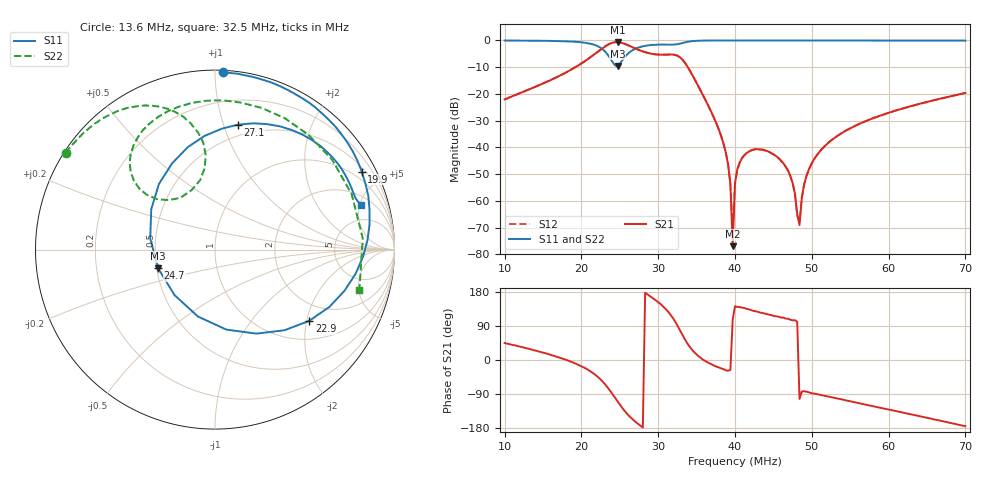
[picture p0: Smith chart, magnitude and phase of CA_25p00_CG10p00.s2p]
#  HZ  S  RI  R  50.00
! Rohde & Schwarz ZVT8 8Ports - Version 4.11 - 1300.0000k08 SN: 100242
! Date: 2026-07-31 14:34:52
! Measurements: S11 S21 S12 S22
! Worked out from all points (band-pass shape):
!   201 points, 10 MHz to 70 MHz, reference 50 ohm
!   highest |S21| = -0.62 dB at 24.7 MHz (marker M1); lowest = -77.0 dB at 39.7 MHz (marker M2)
!   |S21| within 3 dB of the highest: 22.41 MHz to 27.53 MHz (5.115 MHz wide, 20.5 % of centre)
!   lowest |S11| = -9.5 dB at 24.7 MHz (marker M3), VSWR 2.00, Z = 25.5 - j5.96 ohm
!   |S11| at or under -10 dB: nowhere
!   |S22| runs from -9.2 to 0.0 dB; largest |S21 - S12| = 0.0026
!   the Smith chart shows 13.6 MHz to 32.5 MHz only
!   S11 on the Smith chart (normalised r, x): 13.6 MHz: 0.01, +1.05; 19.9 MHz: 0.64, +3.91; 22.9 MHz: 1.48, -2.07; 24.7 MHz: 0.51, -0.12; 27.1 MHz: 0.40, +1.12; 32.5 MHz: 2.81, +5.13
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1e7  -0.3959 0.914  0.0558 0.0556  0.0555 0.0556  -0.9164 0.3906
1.36e7  0.0465 0.9879  0.1145 0.0587  0.1146 0.058  -0.8311 0.5367
1.99e7  0.8175 0.4351  0.35 -0.0969  0.3503 -0.0971  -0.4883 0.7895
2.02e7  0.8376 0.3695  0.3679 -0.1226  0.3671 -0.1221  -0.4591 0.7945
2.29e7  0.5248 -0.3969  0.3728 -0.6411  0.3734 -0.6422  -0.0944 0.6527
2.47e7  -0.3168 -0.1039  -0.3077 -0.879  -0.3063 -0.8773  -0.1914 0.2891
2.71e7  0.1272 0.6962  -0.673 -0.19  -0.6729 -0.189  -0.47 0.5316
3.01e7  0.6887 0.4738  -0.4739 0.2638  -0.4737 0.2628  0.0399 0.8322
3.25e7  0.8133 0.2513  -0.00826 0.5181  -0.00841 0.5181  0.8047 -0.2244
3.34e7  0.896 0.1808  0.2149 0.3343  0.2146 0.3344  0.1908 -0.8807
3.49e7  0.9808 -0.049  0.164 0.0485  0.1635 0.0472  -0.8065 -0.5496
3.85e7  0.845 -0.5307  0.0107 -0.00481  0.0107 -0.00483  -0.9433 0.3232
3.94e7  0.7795 -0.6215  0.00184 -0.00089  0.00184 -0.00102  -0.9029 0.4242
3.97e7  0.757 -0.6509  -3.97e-05 0.000136  -0.000107 0.000237  -0.8876 0.4535
4e7  0.7316 -0.678  -0.00169 0.00132  -0.00165 0.0013  -0.8749 0.48
4.15e7  0.5988 -0.7984  -0.00555 0.00553  -0.00548 0.00552  -0.8032 0.5911
4.51e7  0.2214 -0.9738  -0.0032 0.00654  -0.00332 0.00642  -0.6426 0.7639
4.72e7  -0.0164 -0.9974  -0.00083 0.00281  -0.000844 0.00277  -0.552 0.8305
4.84e7  -0.1501 -0.9876  -7.75e-05 -0.000341  -1.87e-05 -0.000412  -0.502 0.8616
5.02e7  -0.3449 -0.9372  0.000156 -0.00566  0.00019 -0.0057  -0.4279 0.9008
6.01e7  -0.9886 -0.115  -0.0294 -0.0338  -0.0293 -0.0337  -0.0256 0.9958
7e7  -0.5307 0.8368  -0.1036 -0.00947  -0.1034 -0.00935  0.3681 0.921
